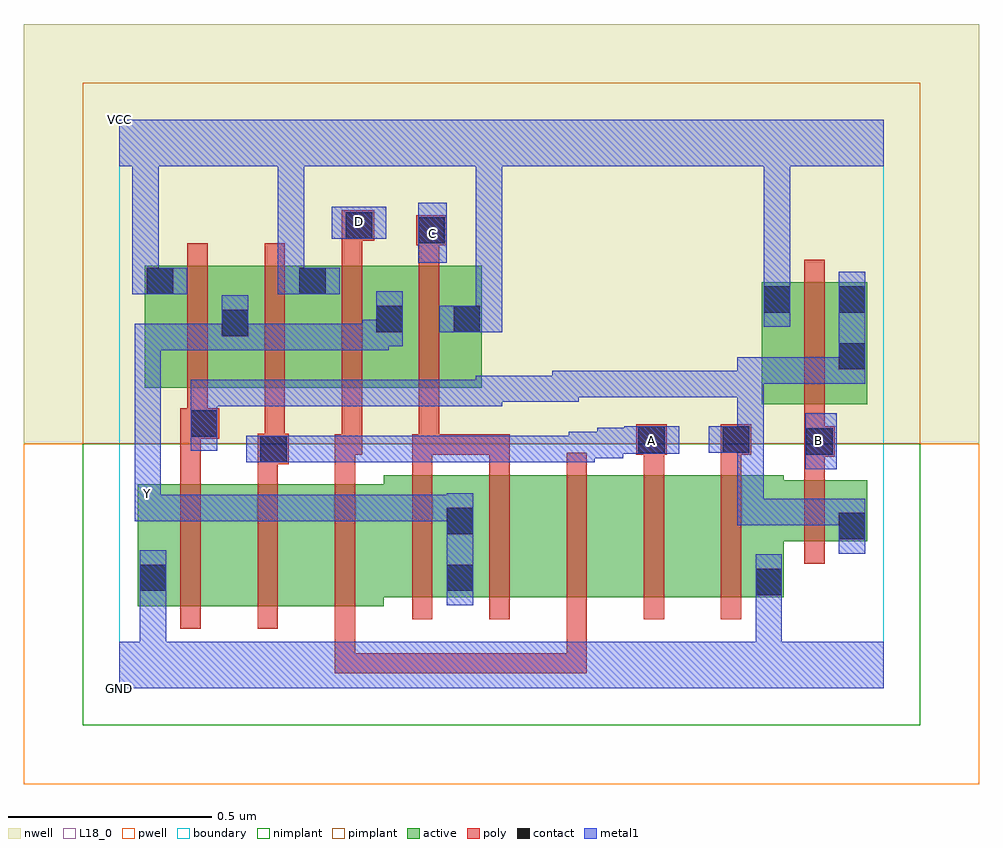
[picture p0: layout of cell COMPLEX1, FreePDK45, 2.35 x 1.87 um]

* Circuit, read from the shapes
.subckt COMPLEX1 A B C D GND VCC Y
M1 n1 n2 GND VSUBS nfet w=0.3u l=0.05u
M2 n3 A n1 VSUBS nfet w=0.3u l=0.05u
M3 n4 D n3 VSUBS nfet w=0.3u l=0.05u
M4 Y C n4 VSUBS nfet w=0.3u l=0.05u
M5 n5 C Y VSUBS nfet w=0.3u l=0.05u
M6 n6 D n5 VSUBS nfet w=0.3u l=0.05u
M7 n7 A n6 VSUBS nfet w=0.3u l=0.05u
M8 GND n2 n7 VSUBS nfet w=0.3u l=0.05u
M9 n2 B GND VSUBS nfet w=0.15u l=0.05u
M10 Y n2 VCC n8 pfet w=0.3u l=0.05u
M11 VCC A Y n8 pfet w=0.3u l=0.05u
M12 Y D VCC n8 pfet w=0.3u l=0.05u
M13 VCC C Y n8 pfet w=0.3u l=0.05u
M14 n2 B VCC n8 pfet w=0.3u l=0.05u
.ends

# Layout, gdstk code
import gdstk
lib = gdstk.Library(unit=1e-6, precision=1e-09)
def R(c, l, rs):  # rectangles x0, y0, x1, y1
    for r in rs: c.add(gdstk.rectangle(r[:2], r[2:], *l))
def A(c, l, x, y, w, h, nx, ny, dx, dy):  # array of equal rectangles
    R(c, l, [(x+i*dx, y+j*dy, x+i*dx+w, y+j*dy+h) for i in range(nx) for j in range(ny)])
active = (1, 0)
pwell = (2, 0)
nwell = (3, 0)
nimplant = (4, 0)
pimplant = (5, 0)
poly = (9, 0)
contact = (10, 0)
metal1 = (11, 0)
L18_0 = (18, 0)
boundary = (235, 0)

complex1 = lib.new_cell('COMPLEX1')
A(complex1, active, 0.247, 0.74, 0.265, 0.3, 3, 1, 0.19, 0)
R(complex1, active, [(0.045,0.202,0.27,0.502), (0.045,0.202,0.12,0.502), (0.27,0.202,0.46,0.502), (0.46,0.202,0.65,0.502), (0.65,0.225,0.875,0.525), (0.8,0.225,1.03,0.525), (0.8,0.225,0.875,0.525), (1.03,0.225,1.22,0.525), (1.22,0.225,1.41,0.525), (1.41,0.225,1.635,0.525), (1.56,0.225,1.635,0.512), (1.56,0.362,1.84,0.512), (1.765,0.362,1.84,0.512), (1.58,0.7,1.655,1), (1.58,0.7,1.84,1), (1.765,0.7,1.84,1), (0.062,0.74,0.137,1.04), (0.062,0.74,0.322,1.04), (0.817,0.74,0.892,1.04), (0.627,0.775,0.702,0.967), (0.437,0.832,0.512,1.04), (0.247,0.862,0.322,1.04)])
R(complex1, pwell, [(-0.235,-0.235,2.115,0.602)])
R(complex1, nwell, [(-0.235,0.602,2.115,1.635)])
R(complex1, nimplant, [(-0.09,-0.09,1.97,0.602)])
R(complex1, pimplant, [(-0.09,0.602,1.97,1.49)])
A(complex1, poly, 0.15, 0.147, 0.05, 0.41, 3, 1, 0.19, 0)
A(complex1, poly, 0.72, 0.17, 0.05, 0.41, 5, 1, 0.19, 0)
A(complex1, poly, 0.167, 0.685, 0.05, 0.41, 4, 1, 0.19, 0)
R(complex1, poly, [(0.53,0.037,0.58,0.087), (0.53,0.037,0.58,0.087), (0.53,0.037,0.58,0.087), (0.53,0.037,0.58,0.197), (0.53,0.037,0.827,0.087), (0.777,0.037,0.827,0.087), (0.777,0.037,0.827,0.087), (0.777,0.037,0.827,0.087), (0.777,0.037,1.017,0.087), (0.967,0.037,1.017,0.087), (0.967,0.037,1.15,0.087), (1.1,0.037,1.15,0.22), (1.1,0.037,1.15,0.087), (1.1,0.037,1.15,0.087), (1.1,0.037,1.15,0.087), (1.685,0.307,1.735,0.567), (0.15,0.507,0.2,0.665), (0.34,0.507,0.39,0.602), (0.53,0.507,0.58,0.625), (1.685,0.517,1.735,0.62), (0.72,0.53,0.77,0.625), (0.91,0.53,0.96,0.625), (1.29,0.53,1.34,0.625), (1.48,0.53,1.53,0.625), (0.34,0.552,0.417,0.627), (1.685,0.57,1.76,0.645), (0.53,0.575,0.597,0.625), (0.547,0.575,0.597,0.735), (0.72,0.575,0.787,0.625), (0.737,0.575,0.96,0.625), (0.737,0.575,0.787,0.735), (0.91,0.575,0.96,0.625), (0.91,0.575,0.96,0.625), (0.91,0.575,0.96,0.625), (1.272,0.575,1.347,0.65), (1.48,0.575,1.555,0.65), (0.357,0.577,0.407,0.735), (1.685,0.595,1.735,0.695), (0.15,0.615,0.245,0.69), (0.167,0.64,0.217,0.735), (1.685,0.645,1.735,1.055), (0.547,1.045,0.597,1.152), (0.737,1.045,0.787,1.14), (0.73,1.09,0.805,1.165), (0.547,1.102,0.627,1.177)])
R(complex1, contact, [(1.565,0.23,1.63,0.295), (0.05,0.24,0.115,0.305), (0.805,0.24,0.87,0.305), (1.77,0.367,1.835,0.432), (0.805,0.38,0.87,0.445), (0.347,0.557,0.412,0.622), (1.69,0.575,1.755,0.64), (1.277,0.58,1.342,0.645), (1.485,0.58,1.55,0.645), (0.175,0.62,0.24,0.685), (1.77,0.785,1.835,0.85), (0.252,0.867,0.317,0.932), (0.632,0.877,0.697,0.942), (0.822,0.877,0.887,0.942), (1.585,0.925,1.65,0.99), (1.77,0.925,1.835,0.99), (0.067,0.97,0.132,1.035), (0.442,0.97,0.507,1.035), (0.735,1.095,0.8,1.16), (0.557,1.107,0.622,1.172)])
R(complex1, metal1, [(0,0,1.88,0.115), (0.05,0.05,0.115,0.27), (1.565,0.05,1.63,0.115), (1.565,0.05,1.63,0.115), (1.565,0.05,1.63,0.26), (1.565,0.195,1.63,0.33), (0.05,0.205,0.115,0.27), (0.05,0.205,0.115,0.27), (0.05,0.205,0.115,0.34), (0.805,0.205,0.87,0.48), (1.77,0.332,1.835,0.467), (1.52,0.402,1.585,0.467), (1.52,0.402,1.835,0.467), (1.52,0.402,1.585,0.645), (1.77,0.402,1.835,0.467), (1.77,0.402,1.835,0.467), (0.037,0.412,0.102,0.477), (0.037,0.412,0.102,0.477), (0.037,0.412,0.102,0.547), (0.037,0.412,0.24,0.477), (0.175,0.412,0.24,0.477), (0.175,0.412,0.24,0.477), (0.175,0.412,0.24,0.477), (0.175,0.412,0.45,0.477), (0.385,0.412,0.45,0.477), (0.385,0.412,0.455,0.477), (0.39,0.412,0.455,0.477), (0.39,0.412,0.662,0.477), (0.597,0.412,0.662,0.477), (0.597,0.412,0.662,0.477), (0.597,0.412,0.662,0.477), (0.597,0.412,0.805,0.477), (0.74,0.412,0.805,0.477), (0.74,0.412,0.87,0.477), (0.037,0.482,0.102,0.547), (0.037,0.482,0.102,0.547), (0.037,0.482,0.102,0.897), (1.687,0.54,1.765,0.677), (0.312,0.557,0.447,0.622), (0.382,0.557,0.525,0.622), (0.46,0.557,0.525,0.622), (0.46,0.557,0.662,0.622), (0.597,0.557,0.662,0.622), (0.597,0.557,0.662,0.622), (0.597,0.557,0.662,0.622), (0.597,0.557,0.8,0.622), (0.735,0.557,0.8,0.622), (0.735,0.557,0.8,0.622), (0.735,0.557,0.8,0.622), (0.735,0.557,0.992,0.622), (0.927,0.557,0.992,0.622), (0.927,0.557,0.992,0.622), (0.927,0.557,0.992,0.622), (0.927,0.557,1.17,0.622), (1.105,0.557,1.17,0.632), (1.105,0.567,1.24,0.632), (1.175,0.567,1.24,0.642), (1.175,0.577,1.307,0.642), (1.242,0.577,1.377,0.645), (1.45,0.58,1.585,0.645), (1.52,0.58,1.585,0.645), (1.52,0.58,1.585,0.645), (1.52,0.58,1.585,0.782), (0.175,0.585,0.24,0.72), (0.175,0.655,0.24,0.72), (0.175,0.655,0.24,0.72), (0.175,0.655,0.24,0.76), (0.175,0.695,0.24,0.76), (0.175,0.695,0.45,0.76), (0.385,0.695,0.45,0.76), (0.385,0.695,0.525,0.76), (0.46,0.695,0.525,0.76), (0.46,0.695,0.662,0.76), (0.597,0.695,0.662,0.76), (0.597,0.695,0.662,0.76), (0.597,0.695,0.662,0.76), (0.597,0.695,0.8,0.76), (0.735,0.695,0.8,0.76), (0.735,0.695,0.8,0.76), (0.735,0.695,0.8,0.76), (0.735,0.695,0.942,0.76), (0.877,0.695,0.942,0.76), (0.877,0.695,0.942,0.76), (0.877,0.695,0.942,0.77), (0.877,0.705,1.13,0.77), (1.065,0.705,1.13,0.782), (1.065,0.717,1.13,0.782), (1.065,0.717,1.13,0.782), (1.065,0.717,1.377,0.782), (1.312,0.717,1.377,0.782), (1.312,0.717,1.377,0.782), (1.312,0.717,1.377,0.782), (1.312,0.717,1.585,0.782), (1.52,0.717,1.585,0.782), (1.52,0.717,1.585,0.782), (1.52,0.717,1.585,0.815), (1.52,0.75,1.835,0.815), (1.77,0.75,1.835,0.815), (1.77,0.75,1.835,0.815), (1.77,0.75,1.835,1.025), (0.037,0.832,0.102,0.897), (0.037,0.832,0.102,0.897), (0.037,0.832,0.102,0.897), (0.037,0.832,0.317,0.897), (0.252,0.832,0.317,0.967), (0.252,0.832,0.45,0.897), (0.385,0.832,0.45,0.897), (0.385,0.832,0.455,0.897), (0.39,0.832,0.455,0.897), (0.39,0.832,0.662,0.897), (0.597,0.832,0.662,0.907), (0.597,0.842,0.697,0.907), (0.632,0.842,0.697,0.977), (0.787,0.877,0.942,0.942), (0.877,0.877,0.942,1.35), (1.585,0.89,1.65,1.025), (1.585,0.96,1.65,1.025), (1.585,0.96,1.65,1.025), (1.585,0.96,1.65,1.025), (1.585,0.96,1.65,1.025), (1.585,0.96,1.65,1.35), (0.032,0.97,0.167,1.035), (0.032,0.97,0.097,1.35), (0.39,0.97,0.455,1.35), (0.39,0.97,0.542,1.035), (0.735,1.047,0.805,1.195), (0.522,1.107,0.657,1.185), (0,1.285,1.88,1.4), (0.032,1.285,0.097,1.35), (0.032,1.285,0.097,1.35), (0.032,1.285,0.097,1.35), (0.032,1.285,0.097,1.35), (0.39,1.285,0.455,1.35), (0.39,1.285,0.455,1.35), (0.39,1.285,0.455,1.35), (0.39,1.285,0.455,1.35), (0.877,1.285,0.942,1.35), (0.877,1.285,0.942,1.35), (0.877,1.285,0.942,1.35), (0.877,1.285,0.942,1.35)])
A(complex1, L18_0, 0.037, 0.412, 0.065, 0.065, 1, 3, 0, 0.035)
R(complex1, L18_0, [(0,0,1.88,0.115), (0.05,0.05,0.115,0.27), (1.565,0.05,1.63,0.115), (1.565,0.05,1.63,0.115), (1.565,0.05,1.63,0.26), (1.565,0.195,1.63,0.33), (0.05,0.205,0.115,0.27), (0.05,0.205,0.115,0.27), (0.05,0.205,0.115,0.34), (0.805,0.205,0.87,0.48), (0.037,0.412,0.102,0.477), (0.037,0.412,0.102,0.547), (0.037,0.412,0.24,0.477), (0.175,0.412,0.24,0.477), (0.175,0.412,0.24,0.477), (0.175,0.412,0.24,0.477), (0.175,0.412,0.45,0.477), (0.385,0.412,0.45,0.477), (0.385,0.412,0.455,0.477), (0.39,0.412,0.455,0.477), (0.39,0.412,0.662,0.477), (0.597,0.412,0.662,0.477), (0.597,0.412,0.662,0.477), (0.597,0.412,0.662,0.477), (0.597,0.412,0.805,0.477), (0.74,0.412,0.805,0.477), (0.74,0.412,0.87,0.477), (0.037,0.482,0.102,0.547), (0.037,0.482,0.102,0.897), (1.687,0.54,1.765,0.677), (0.312,0.557,0.447,0.622), (0.382,0.557,0.525,0.622), (0.46,0.557,0.525,0.622), (0.46,0.557,0.662,0.622), (0.597,0.557,0.662,0.622), (0.597,0.557,0.662,0.622), (0.597,0.557,0.662,0.622), (0.597,0.557,0.8,0.622), (0.735,0.557,0.8,0.622), (0.735,0.557,0.8,0.622), (0.735,0.557,0.8,0.622), (0.735,0.557,0.992,0.622), (0.927,0.557,0.992,0.622), (0.927,0.557,0.992,0.622), (0.927,0.557,0.992,0.622), (0.927,0.557,1.17,0.622), (1.105,0.557,1.17,0.632), (1.105,0.567,1.24,0.632), (1.175,0.567,1.24,0.642), (1.175,0.577,1.307,0.642), (1.242,0.577,1.377,0.645), (1.277,0.577,1.342,0.642), (1.687,0.577,1.752,0.642), (0.037,0.832,0.102,0.897), (0.037,0.832,0.102,0.897), (0.037,0.832,0.102,0.897), (0.037,0.832,0.317,0.897), (0.252,0.832,0.317,0.967), (0.252,0.832,0.45,0.897), (0.385,0.832,0.45,0.897), (0.385,0.832,0.455,0.897), (0.39,0.832,0.455,0.897), (0.39,0.832,0.662,0.897), (0.597,0.832,0.662,0.907), (0.597,0.842,0.697,0.907), (0.632,0.842,0.697,0.977), (0.787,0.877,0.942,0.942), (0.877,0.877,0.942,1.35), (1.585,0.89,1.65,1.025), (1.585,0.96,1.65,1.025), (1.585,0.96,1.65,1.025), (1.585,0.96,1.65,1.025), (1.585,0.96,1.65,1.025), (1.585,0.96,1.65,1.35), (0.032,0.97,0.167,1.035), (0.032,0.97,0.097,1.35), (0.39,0.97,0.455,1.35), (0.39,0.97,0.542,1.035), (0.735,1.047,0.805,1.195), (0.737,1.087,0.802,1.152), (0.522,1.107,0.657,1.185), (0.557,1.117,0.622,1.182), (0,1.285,1.88,1.4), (0.032,1.285,0.097,1.35), (0.032,1.285,0.097,1.35), (0.032,1.285,0.097,1.35), (0.032,1.285,0.097,1.35), (0.39,1.285,0.455,1.35), (0.39,1.285,0.455,1.35), (0.39,1.285,0.455,1.35), (0.39,1.285,0.455,1.35), (0.877,1.285,0.942,1.35), (0.877,1.285,0.942,1.35), (0.877,1.285,0.942,1.35), (0.877,1.285,0.942,1.35)])
R(complex1, boundary, [(0,0,1.88,1.4)])
complex1.add(gdstk.Label('A', (1.31,0.61), layer=11, texttype=0))
complex1.add(gdstk.Label('B', (1.72,0.61), layer=11, texttype=0))
complex1.add(gdstk.Label('C', (0.77,1.12), layer=11, texttype=0))
complex1.add(gdstk.Label('D', (0.59,1.15), layer=11, texttype=0))
complex1.add(gdstk.Label('Y', (0.07,0.48), layer=11, texttype=0))
complex1.add(gdstk.Label('VCC', (0,1.4), layer=11, texttype=0))
complex1.add(gdstk.Label('GND', (0,0), layer=11, texttype=0))

lib.write_gds('COMPLEX1.gds')
